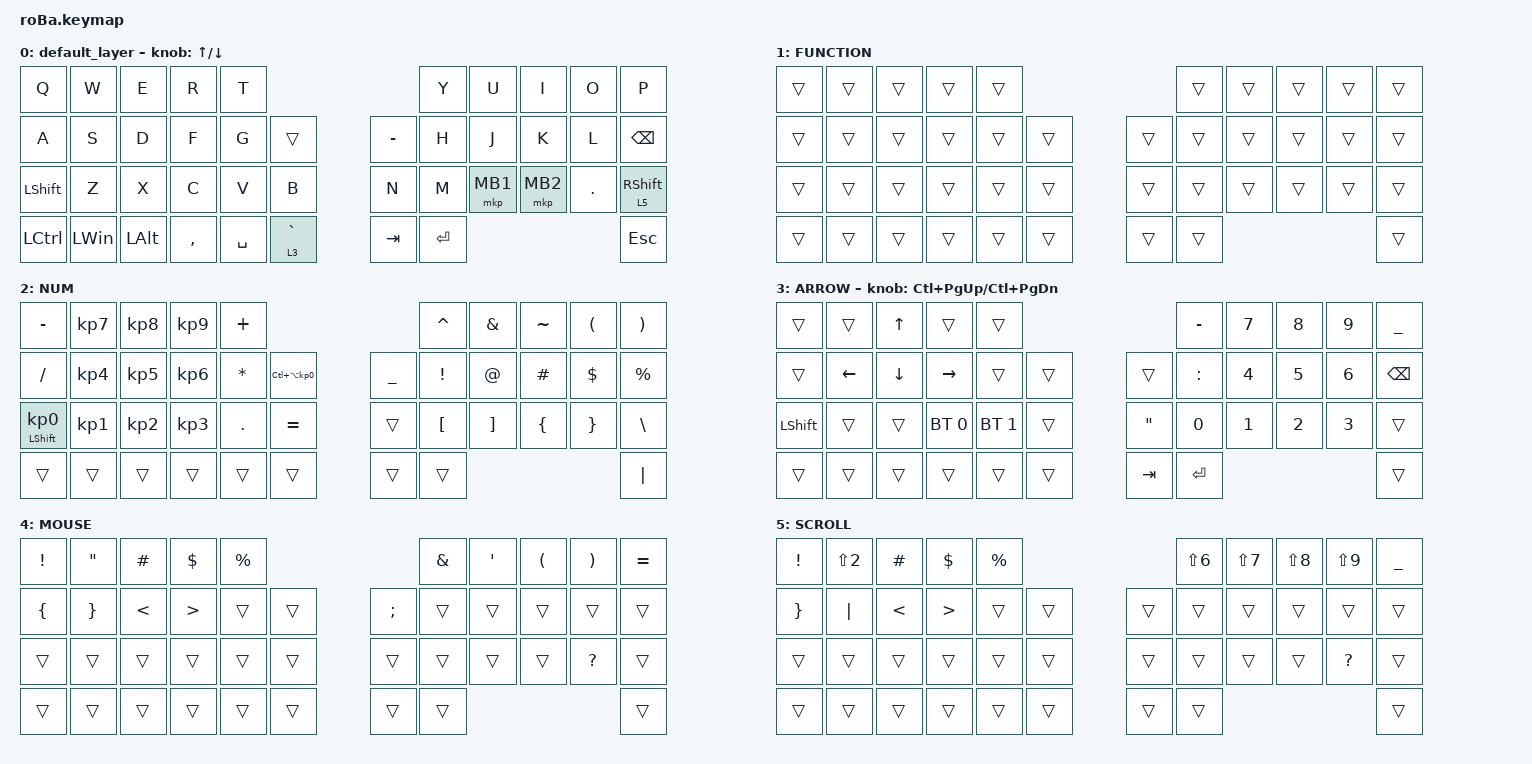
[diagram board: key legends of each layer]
#include <behaviors.dtsi>
#include <dt-bindings/zmk/bt.h>
#include <dt-bindings/zmk/keys.h>
#include <dt-bindings/zmk/pointing.h>

&mt {
    flavor = "balanced";
    quick-tap-ms = <0>;
};

&trackball {
    automouse-layer = <4>;
    scroll-layers = <5>;

    // arrows {
    //     layers = <3>;
    //     bindings =
    //         <&kp RIGHT_ARROW>,
    //         <&kp LEFT_ARROW>,
    //         <&kp UP_ARROW>,
    //         <&kp DOWN_ARROW>;
    //     tick = <10>;
    //     wait-ms = <5>;
    //     tap-ms = <5>;
    // };
};

/ {
    combos {
        compatible = "zmk,combos";

        tab {
            bindings = <&kp TAB>;
            key-positions = <11 12>;
        };

        shift_tab {
            bindings = <&kp LS(TAB)>;
            key-positions = <12 13>;
        };

        muhennkann {
            bindings = <&to_layer_0 INT_MUHENKAN>;
            key-positions = <11 10>;
        };

        double_quotation {
            bindings = <&kp DOUBLE_QUOTES>;
            key-positions = <20 21>;
        };

        eq {
            bindings = <&kp EQUAL>;
            key-positions = <24 25>;
        };
    };

    macros {
        to_layer_0: to_layer_0 {
            compatible = "zmk,behavior-macro-one-param";
            #binding-cells = <1>;
            bindings = <&to 0 &macro_param_1to1 &kp MACRO_PLACEHOLDER>;
            label = "TO_LAYER_0";
        };
    };

    behaviors {
        lt_to_layer_0: lt_to_layer_0 {
            compatible = "zmk,behavior-hold-tap";
            label = "LAYER_TAP_TO_0";
            bindings = <&mo>, <&to_layer_0>;

            #binding-cells = <2>;
            tapping-term-ms = <200>;
        };
    };

    keymap {
        compatible = "zmk,keymap";

        default_layer {
            bindings = <
&kp Q           &kp W         &kp E         &kp R      &kp T                                             &kp Y      &kp U     &kp I     &kp O       &kp P
&kp A           &kp S         &kp D         &kp F      &kp G      &trans                      &kp MINUS  &kp H      &kp J     &kp K     &kp L       &kp BACKSPACE
&kp LEFT_SHIFT  &kp Z         &kp X         &kp C      &kp V      &kp B                       &kp N      &kp M      &mkp MB1  &mkp MB2  &kp PERIOD  &lt 5 RIGHT_SHIFT
&kp LCTRL       &kp LEFT_WIN  &kp LEFT_ALT  &kp COMMA  &kp SPACE  &lt_to_layer_0 3 GRAVE      &kp TAB    &kp ENTER                                  &kp ESCAPE
            >;

            sensor-bindings = <&inc_dec_kp UP_ARROW DOWN_ARROW>;
        };

        FUNCTION {
            bindings = <
&trans  &trans  &trans  &trans  &trans                      &trans  &trans  &trans  &trans  &trans
&trans  &trans  &trans  &trans  &trans  &trans      &trans  &trans  &trans  &trans  &trans  &trans
&trans  &trans  &trans  &trans  &trans  &trans      &trans  &trans  &trans  &trans  &trans  &trans
&trans  &trans  &trans  &trans  &trans  &trans      &trans  &trans                          &trans
            >;
        };

        NUM {
            bindings = <
&kp MINUS                   &kp KP_NUMBER_7  &kp KP_NUMBER_8  &kp KP_NUMBER_9  &kp PLUS                                                   &kp CARET         &kp AMPERSAND      &kp TILDE       &kp LEFT_PARENTHESIS  &kp RIGHT_PARENTHESIS
&kp SLASH                   &kp KP_NUMBER_4  &kp KP_NUMBER_5  &kp KP_NUMBER_6  &kp ASTERISK  &kp LC(LA(KP_NUMBER_0))      &kp UNDERSCORE  &kp EXCLAMATION   &kp AT_SIGN        &kp HASH        &kp DOLLAR            &kp PERCENT
&mt LEFT_SHIFT KP_NUMBER_0  &kp KP_NUMBER_1  &kp KP_NUMBER_2  &kp KP_NUMBER_3  &kp PERIOD    &kp EQUAL                    &trans          &kp LEFT_BRACKET  &kp RIGHT_BRACKET  &kp LEFT_BRACE  &kp RIGHT_BRACE       &kp BACKSLASH
&trans                      &trans           &trans           &trans           &trans        &trans                       &trans          &trans                                                                     &kp PIPE
            >;
        };

        ARROW {
            bindings = <
&trans          &trans          &kp UP_ARROW    &trans           &trans                                       &kp MINUS     &kp NUMBER_7  &kp NUMBER_8  &kp NUMBER_9  &kp UNDER
&trans          &kp LEFT_ARROW  &kp DOWN_ARROW  &kp RIGHT_ARROW  &trans        &trans      &trans             &kp COLON     &kp NUMBER_4  &kp NUMBER_5  &kp NUMBER_6  &kp BACKSPACE
&kp LEFT_SHIFT  &trans          &trans          &bt BT_SEL 0     &bt BT_SEL 1  &trans      &kp DOUBLE_QUOTES  &kp NUMBER_0  &kp N1        &kp N2        &kp NUMBER_3  &trans
&trans          &trans          &trans          &trans           &trans        &trans      &kp TAB            &kp ENTER                                               &trans
            >;

            sensor-bindings = <&inc_dec_kp LC(PAGE_UP) LC(PAGE_DOWN)>;
        };

        MOUSE {
            bindings = <
&kp EXCLAMATION  &kp DOUBLE_QUOTES  &kp HASH       &kp DOLLAR        &kp PERCENT                             &kp AMPERSAND  &kp SQT  &kp LEFT_PARENTHESIS  &kp RIGHT_PARENTHESIS  &kp EQUAL
&kp LEFT_BRACE   &kp RIGHT_BRACE    &kp LESS_THAN  &kp GREATER_THAN  &trans       &trans      &kp SEMICOLON  &trans         &trans   &trans                &trans                 &trans
&trans           &trans             &trans         &trans            &trans       &trans      &trans         &trans         &trans   &trans                &kp QUESTION           &trans
&trans           &trans             &trans         &trans            &trans       &trans      &trans         &trans                                                               &trans
            >;
        };

        SCROLL {
            bindings = <
&kp EXCLAMATION  &kp LS(NUMBER_2)  &kp HASH       &kp DOLLAR        &kp PERCENT                      &kp LS(NUMBER_6)  &kp LS(NUMBER_7)  &kp LS(NUMBER_8)  &kp LS(NUMBER_9)  &kp UNDER
&kp RIGHT_BRACE  &kp PIPE          &kp LESS_THAN  &kp GREATER_THAN  &trans       &trans      &trans  &trans            &trans            &trans            &trans            &trans
&trans           &trans            &trans         &trans            &trans       &trans      &trans  &trans            &trans            &trans            &kp QUESTION      &trans
&trans           &trans            &trans         &trans            &trans       &trans      &trans  &trans                                                                  &trans
            >;
        };
    };
};
